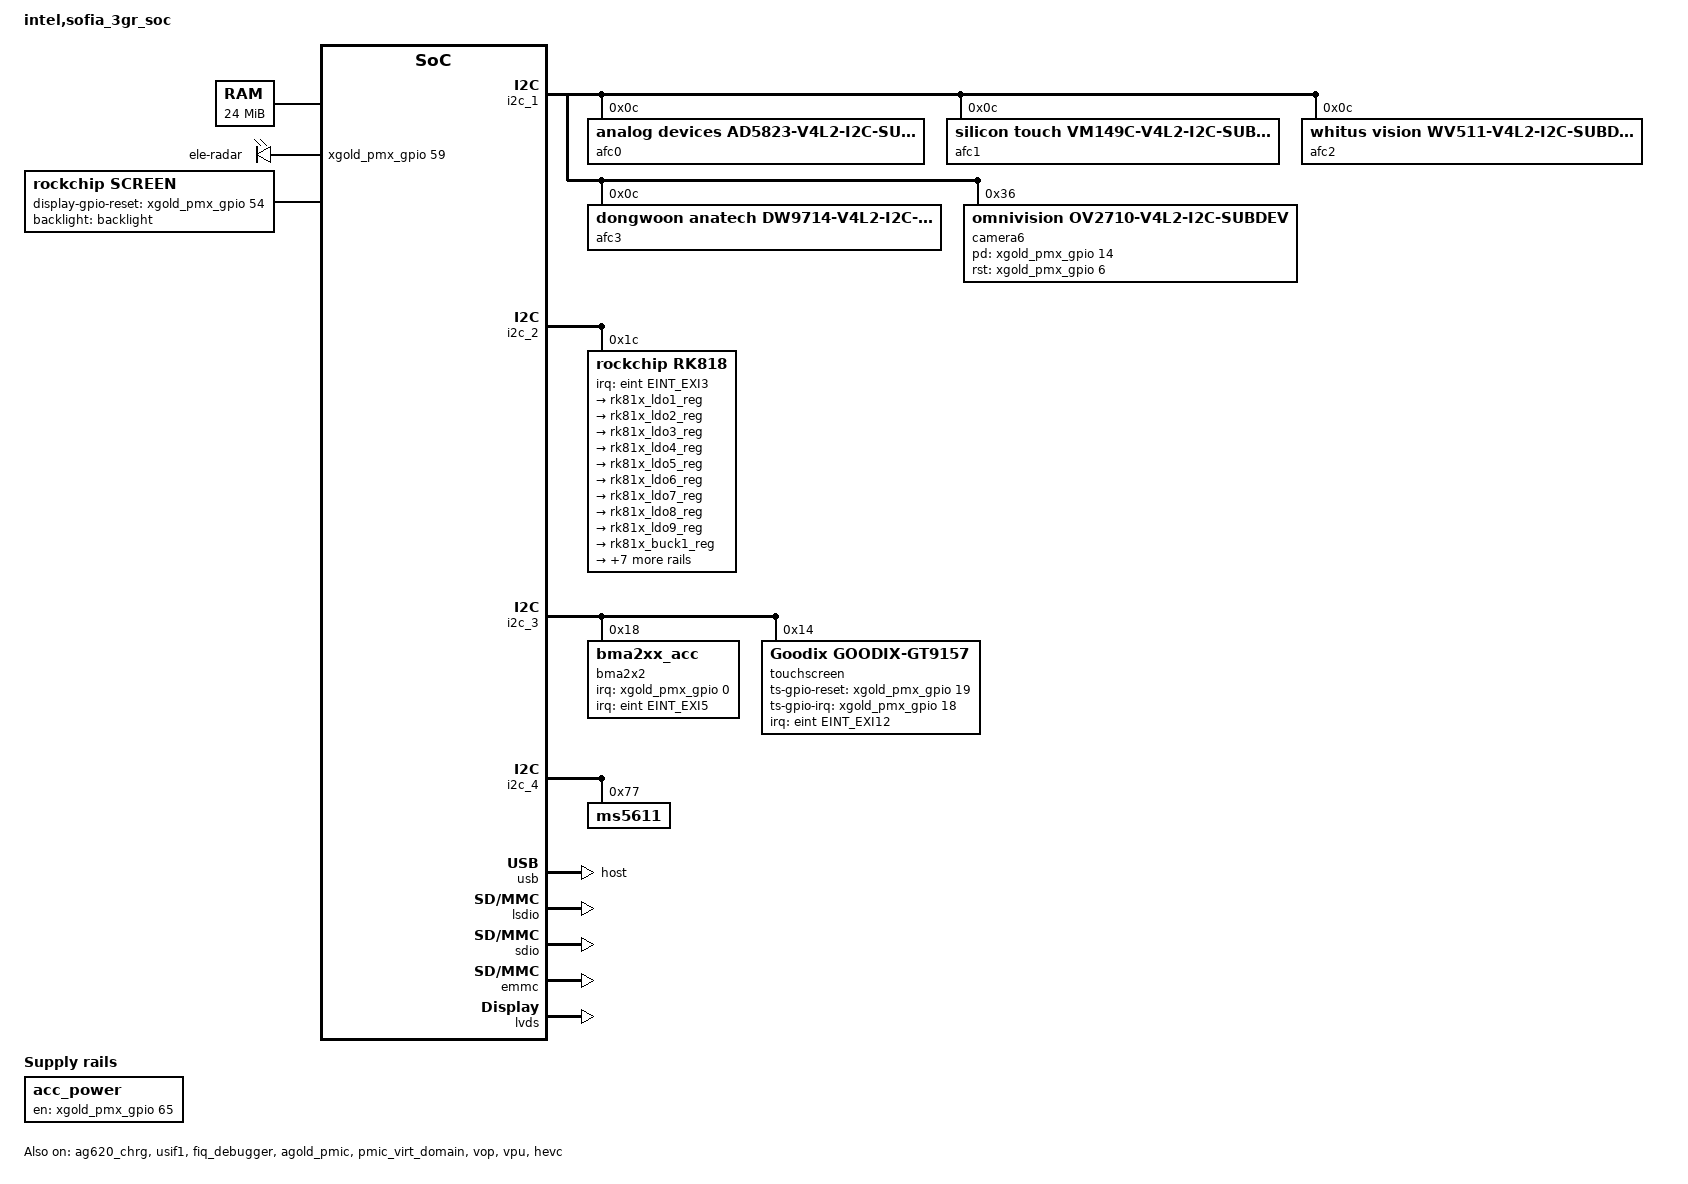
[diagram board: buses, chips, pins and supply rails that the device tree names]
/dts-v1/;

#include "xgold/sofia_3gr_soc/irq-car.h"
#include <dt-bindings/sensor-dev.h>
#include <dt-bindings/sofiafb/sofia_fb.h>
#include <dt-bindings/touchscreen_type.h>
#include <dt-bindings/gpio/gpio.h>

/ {
	#address-cells = <1>;
	#size-cells = <1>;
	model = "intel,sofia_3gr_soc";
	compatible = "intel,sofia_3gr_soc-svb", "intel,xgold";

	#include "xgold/sofia_3gr_soc/sofia_3gr_soc.dtsi"
	#include "xgold/sofia_3gr_soc/irq.dtsi"
	#include "xgold/mobilevisor/mobilevisor.dtsi"
	#include "xgold/sofia_3gr_soc/clock-es1.dtsi"
	#include "xgold/sofia_3gr_soc/regulator.dtsi"
	#include "xgold/sofia_3gr_soc/device-pm-reg.dtsi"
	#include "xgold/pmic/granite.dtsi"
	#include "xgold/sofia_3gr_soc/cpufreq.dtsi"
	#include "xgold/pmic/agold_pmic.dtsi"
	#include "xgold/pmic/pmic_virt_domain.dtsi"
	#include "xgold/pmic/pmic_prh.dtsi"
	chosen {
	};

	aliases {
	};

	memory {
		device_type = "memory";
		reg = <0x800000 0x1800000>;
	};

	reserved-memory {
		#address-cells = <1>;
		#size-cells = <1>;
		ranges;

		/* global autoconfigured region for contiguous allocations */
		cma_default_region: region@0 {
			size = <0x04800000>; /* 72 MiB */
			limit = <0x00000000>; /* 256 MiB */
			linux,cma-default;
		};
	};

	vmodem {
		compatible = "intel,vmodem";
		reg = < 0x1D000000 0x02C00000 >;
	};

	ion {
		compatible = "rockchip,ion";
		#address-cells = <1>;
		#size-cells = <0>;
		cma-heap {
			memory-region = <&cma_default_region>;
			rockchip,ion_heap = <4>;
		};
		system-heap {
			rockchip,ion_heap = <0>;
		};
	};

	backlight: agold620-backlight {
		compatible = "intel,agold620-led";
		reg = <0xE6501800 0x154
				0xE6401134 0x4>;
		reg-names = "pmu-bl", "cgu-bl";
		intel,flags-use-safe-ctrl;
		pm,class-name = "bl_class";
		pm,user-name = "bl";
		pm,state-D0 = "enable";
		pm,state-D3 = "disable";
		/*
		 * intel,run-mode
		 * 1:free running,2:analog feedback
		 * 3,digital control
		 */
		intel,run-mode = <1>;
		intel,led-polarity = <0>; //(free running need)
		intel,led-max-brightness = <160>; //(free running need)
		intel,led-min-brightness = <1>; //(free running need)
		intel,default-brightness-level = <60>;
		/*
		 * intel,ref-voltage
		 * 0:100mv, 1:150mv
		 * 2:200mv (analog feedback need)
		 */
		intel,ref-voltage = <2>;
		intel,cabc = <0>; //for all mode
		intel,bl-gpio-enable = <&abb_pmx_gpio 32 0>;
		//pinctrl-names = "default", "sleep", "inactive";
		//pinctrl-0 = <&led_agold_default_pins>;
		//pinctrl-1 = <&led_agold_sleep_pins>;
		//pinctrl-2 = <&led_agold_inactive_pins>;
	};

	hallsensor {
		compatible = "hall_och165t";
		interrupt-parent = <&eint>;
		interrupts = <EINT_EXI11 XGOLD_IRQ_TYPE_EDGE_FALLING>;
		pinctrl-names = "default", "sleep", "inactive";
		pinctrl-0 = <&hall_default_pins>;
		pinctrl-1 = <&hall_sleep_pins>;
		pinctrl-2 = <&hall_inactive_pins>;
		irq-gpio = <&xgold_pmx_gpio 32 IRQ_TYPE_LEVEL_LOW>;
		hall-active = <1>;
		status = "disabled";
	};

	key {
		compatible = "rockchip,key";
		power-key {
			interrupt-parent = <&eint>;
			interrupts = <EINT_EXI2 XGOLD_IRQ_TYPE_EDGE_FALLING>;
			gpios = <&xgold_pmx_gpio 1 IRQ_TYPE_LEVEL_LOW>;
			linux,code = <116>;
			label = "power";
			gpio-key,wakeup;
		};
	};

	fb {
		compatible = "rockchip,fb";
		rockchip,disp-mode = <NO_DUAL>;
#ifdef PTEST_KERNEL
		rockchip,loader-logo-on = <0>;
#else
		rockchip,loader-logo-on = <0>;
#endif
		rockchip,ion-drv = "rockchip";
	};

	acc_power: acc_power {
		compatible = "regulator-fixed";
		enable-active-high;
		gpio = <&xgold_pmx_gpio 65 GPIO_ACTIVE_HIGH>;
		regulator-name = "acc_power";
		regulator-always-on;
		regulator-boot-on;
	};

	gpio-det {
		compatible = "gpio-detection";
		status = "okay";
		pinctrl-0 = <&gpio_det_default_pins
			     &gpio_fire_default_pins>;
		pinctrl-names = "default";
		car-reverse {
			interrupt-parent = <&eint>;
			interrupts = < EINT_EXI4 XGOLD_IRQ_TYPE_EDGE_BOTH>;
			gpios = <&xgold_pmx_gpio 2 GPIO_ACTIVE_LOW>;
			label = "car-reverse";
			gpio,wakeup;

			4tech,support_uvc_reverse = <1>;
			4tech,uvc_reverse_gpio_reg = <0x1005>;
			4tech,uvc_chip_id = <0x70>;
			4tech,uvc_chip_id_reg = <0x101f>;
			4tech,uvc_reverse_status_reg = <0x09a2>;
			4tech,uvc_reverse_status = <0>;
			4tech,uvc_poll_ms = <300>;
		};

		car-acc {
			interrupt-parent = <&eint>;
			interrupts = <EINT_EXI7 XGOLD_IRQ_TYPE_EDGE_BOTH>;
			gpios = <&xgold_pmx_gpio 5 GPIO_ACTIVE_LOW>;
			label = "car-acc";
			gpio,wakeup;
		};
	};

	leds {
		compatible = "gpio-leds";
		//status = "disabled";
                ele-radar {
                        label = "ele-radar";
                        gpios = <&xgold_pmx_gpio 59 0>;
                        linux,default-trigger = "ele-radar-trigger";
                        default-state = "keep";
                        retain-state-suspended = <1>;
                };
	};

	loader-charge {
		compatible = "rockchip,loader-charge";
		rockchip,loader-charge-on = <0>;
		rockchip,loader-weak-volt = <3600>;
		rockchip,loader-weak-volt-dcp = <3800>;
		rockchip,loader-weak-volt-sdp = <3650>;
		rockchip,android-charge-on = <0>;
	};

	screen {
		compatible = "rockchip,screen","intel,screen";
		pm,class-name = "generic_class";
		pm,user-name = "lcd";
		pm,state-D0 = "enable";
		pm,state-D3 = "disable";
		backlight = <&backlight>;

		intel,display-gpio-reset = <&xgold_pmx_gpio 54 0>;
		#include "xgold/display/lcd-lvds_hx8249.dtsi"
		// #include "xgold/display/lcd-mipi_ili9806e-3.dtsi"
	};

#ifndef RECOVERY_KERNEL
	sound {
		compatible = "intel,xgold-snd-asoc";
		intel,audio-codec = < &afe >;
		intel,pcm-audio = <&pcm_music>;
		intel,pcm-voice = <&pcm_voice>;
		intel,speech = <&speech_probe>;
		/* intel,jack = <&headset>; */
	};
#endif

};

&cpufreq {
	intel,cpufreq-table-v1 = <416000 600000 728000 900000 1040000>;
	intel,voltage-table-v1 = <1000000 1100000 1150000 1200000 1250000>;
	intel,cpufreq-table-v2 = <416000 600000 728000 900000 1160000>;
	intel,voltage-table-v2 = <900000 1075000 1125000 1150000 1275000>;
};

&C6_MC4 {
	target-residency = <100000>; /* 15+20 (entry+exit+broadcast overhead) */
};

&idi_per {
	#include "xgold/agold620/agold620.dtsi"
};

&ag620_chrg {
	status = "okay";
};

&spcu_thermal2 {
	intel,over-heat-temp = <125000>;
};

&vibrator {
	loader_vibrator_time = <90>;
	loader_vibrator_intensity = <100>;
	linux_vibrator_time_adjust = <10>;
	linux_vibrator_intensity = <100>;
};

&abb_pmx_gpio {
	intel,gpiochip-base = <107>;
};

&usif1 {
	pinctrl-names = "default", "sleep", "inactive";
	pinctrl-0 = <&usif1_function_C_active_pins>;
	pinctrl-1 = <&usif1_function_C_sleep_pins>;
	pinctrl-2 = <&usif1_function_C_inactive_pins>;
	pm,state-D0 = "enable_96M_hperf";
	status = "okay";
};

&usif2 {
	pinctrl-names = "default", "sleep", "inactive";
	pinctrl-0 = <&usif2_default_pins>;
	pinctrl-1 = <&usif2_sleep_pins>;
	pinctrl-2 = <&usif2_inactive_pins>;
	// pm,state-D0 = "enable_96M_hperf";
	status = "disabled";
};

&fiq_debugger {
	status = "okay";
};

&pwm0 {
	pinctrl-names = "default", "sleep", "inactive";
	pinctrl-0 = <&pwm0_default_pins>;
	pinctrl-1 = <&pwm0_sleep_pins>;
	pinctrl-2 = <&pwm0_inactive_pins>;
	status = "disabled";
};

&i2c_1 {
	status = "okay";
	pinctrl-names = "default", "sleep", "inactive";
	pinctrl-0 = <&i2c1_default_pins>;
	pinctrl-1 = <&i2c1_sleep_pins>;
	pinctrl-2 = <&i2c1_inactive_pins>;

#ifndef RECOVERY_KERNEL
	afc0: af-controller@0 {
		//status = "disabled";
		compatible = "analog devices,ad5823-v4l2-i2c-subdev";
		reg = < 0x0C >;
	};

	afc1: af-controller@1 {
		//status = "disabled";
		compatible = "silicon touch,vm149C-v4l2-i2c-subdev";
		reg = < 0x0c >;
	};

	afc2: af-controller@2 {
		//status = "disabled";
		compatible = "whitus vision,wv511-v4l2-i2c-subdev";
		reg = < 0x0c >;
	};

	afc3: af-controller@3 {
		compatible = "dongwoon anatech,dw9714-v4l2-i2c-subdev";
		reg = < 0x0C >;
	};
#endif

#ifndef RECOVERY_KERNEL
	camera0: camera-module@0 {
		status = "disabled";
		compatible = "omnivision,ov13850-v4l2-i2c-subdev";
		reg = < 0x10 >;/*addr is 0x6C when SID set 0,else is 0x20*/
		device_type = "v4l2-i2c-subdev";

		pinctrl-names = "default", "sleep", "inactive";
		pinctrl-0 = <&cam1_default_pins>;
		pinctrl-1 = <&cam1_sleep_pins>;
		pinctrl-2 = <&cam1_inactive_pins>;

		intel,pd-gpio = <&xgold_pmx_gpio 14 0>;
		intel,pd-gpio-is_active_high;
		intel,rst-gpio = <&xgold_pmx_gpio 55 0>;
		intel,rst-gpio-is_active_high;
		//intel,pd-gpio_1v2 = <&xgold_pmx_gpio 68 0>;
		intel,flash-gpio = <&xgold_pmx_gpio 97 0>;
		intel,torch-gpio = <&xgold_pmx_gpio 96 0>;

		pm,class-name = "generic_class";
		pm,user-name = "primcam";
		pm,state-D0 = "enable";
		pm,state-D3 = "disable";

		intel,camera-module-facing = "back";
		intel,camera-module-mounting = "landscape";
		intel,camera-module-flash-support = <1>;
		intel,camera-module-flash-exp-time = <5000>;

		//intel,af-ctrl = <&afc0>;
		intel,camera-module-csi-config-0 {
			intel,csi-pixels-per-second = <0>;
			intel,csi-vc = <0>;
			intel,csi-lanes = <2>;
			intel,csi-dphy1 = <0x2014203>;
			intel,csi-dphy2 = <0x00>;
			intel,csi-ana-bandgap-bias = <3>;
			intel,csi-used = <0>;
		};
		intel,camera-module-csi-config-1 {
			intel,csi-pixels-per-second = <100000000>;
			intel,csi-vc = <0>;
			intel,csi-lanes = <4>;
			intel,csi-dphy1 = <0x600e241>;
			intel,csi-dphy2 = <0x00>;
			intel,csi-ana-bandgap-bias = <3>;
			intel,csi-used = <0>;
		};
	};
#endif

#ifndef RECOVERY_KERNEL
	camera1: camera-module@1 {
		status = "disabled";
		compatible = "omnivision,OV8858-v4l2-i2c-subdev";
		reg = < 0x10 >;/*addr is 0x6C when SID set 0,else is 0x20*/
		device_type = "v4l2-i2c-subdev";

		pinctrl-names = "default", "sleep", "inactive";
		pinctrl-0 = <&cam1_default_pins>;
		pinctrl-1 = <&cam1_sleep_pins>;
		pinctrl-2 = <&cam1_inactive_pins>;

		intel,pd-gpio = <&xgold_pmx_gpio 14 0>;
		intel,pd-gpio-is_active_high;
		intel,rst-gpio = <&xgold_pmx_gpio 55 0>;
		intel,rst-gpio-is_active_high;
		//intel,pd-gpio_1v2 = <&xgold_pmx_gpio 68 0>;
		//intel,flash-gpio = <&xgold_pmx_gpio 97 0>;
		//intel,torch-gpio = <&xgold_pmx_gpio 96 0>;

		pm,class-name = "generic_class";
		pm,user-name = "primcam";
		pm,state-D0 = "enable";
		pm,state-D3 = "disable";

		intel,camera-module-facing = "back";
		intel,camera-module-mounting = "landscape";
		intel,camera-module-flash-support = <1>;
		intel,camera-module-flash-exp-time = <5000>;
		rockchip,camera-module-name = "cmk-cb0695-fv1";
		rockchip,camera-module-len-name = "lg9569a2";
		rockchip,camera-module-fov-h = "66.0";
		rockchip,camera-module-fov-v = "50.1";
		rockchip,camera-module-orientation = <0>;
		rockchip,camera-module-iq-flip = <0>;
		rockchip,camera-module-iq-mirror = <0>;

		intel,af-ctrl = <&afc1>;
		intel,camera-module-csi-config-0 {
			intel,csi-pixels-per-second = <0>;
			intel,csi-vc = <0>;
			intel,csi-lanes = <4>;
			intel,csi-dphy1 = <0x610a203>;
			intel,csi-dphy2 = <0x00>;
			intel,csi-ana-bandgap-bias = <3>;
			intel,csi-used = <0>;
		};
	};
#endif

#ifndef RECOVERY_KERNEL
	camera2: camera-module@2 {
		status = "disabled";
		compatible = "omnivision,OV5648-v4l2-i2c-subdev";
		reg = < 0x36 >;/*addr is 0x6C when SID set 0,else is 0x20*/
		device_type = "v4l2-i2c-subdev";

		pinctrl-names = "default", "sleep", "inactive";
		pinctrl-0 = <&cam1_default_pins>;
		pinctrl-1 = <&cam1_sleep_pins>;
		pinctrl-2 = <&cam1_inactive_pins>;

		intel,pd-gpio = <&xgold_pmx_gpio 14 0>;
		intel,pd-gpio-is_active_high;
		intel,rst-gpio = <&xgold_pmx_gpio 55 0>;
		intel,rst-gpio-is_active_high;
		//intel,pd-gpio_1v2 = <&xgold_pmx_gpio 68 0>;
		//intel,flash-gpio = <&xgold_pmx_gpio 97 0>;
		//intel,torch-gpio = <&xgold_pmx_gpio 96 0>;

		pm,class-name = "generic_class";
		pm,user-name = "primcam";
		pm,state-D0 = "enable";
		pm,state-D3 = "disable";

		intel,camera-module-facing = "back";
		intel,camera-module-mounting = "landscape";
		intel,camera-module-flash-support = <1>;
		intel,camera-module-flash-exp-time = <5000>;
		rockchip,camera-module-name = "cmk-cw2392-fv1";
		rockchip,camera-module-len-name = "m5101";

		intel,af-ctrl = <&afc2>;
		intel,camera-module-csi-config-0 {
			intel,csi-pixels-per-second = <0>;
			intel,csi-vc = <0>;
			intel,csi-lanes = <2>;
			intel,csi-dphy1 = <0x6208203>;
			intel,csi-dphy2 = <0x00>;
			intel,csi-ana-bandgap-bias = <3>;
			intel,csi-used = <0>;
		};
	};
#endif

#ifndef RECOVERY_KERNEL
	camera3: camera-module@3 {
		status = "disabled";
		compatible = "superpix,sp5409-v4l2-i2c-subdev";
		reg = < 0x3c >;
		device_type = "v4l2-i2c-subdev";

		pinctrl-names = "default", "sleep", "inactive";
		pinctrl-0 = <&cam1_default_pins>;
		pinctrl-1 = <&cam1_sleep_pins>;
		pinctrl-2 = <&cam1_inactive_pins>;

		intel,pd-gpio = <&xgold_pmx_gpio 14 0>;
		//intel,pd-gpio_1v2 = <&xgold_pmx_gpio 68 0>;
		intel,pd-gpio-is_active_low;
		intel,rst-gpio = <&xgold_pmx_gpio 55 0>;
		intel,rst-gpio-is_active_low;
		intel,flash-gpio = <&xgold_pmx_gpio 37 0>;
		intel,torch-gpio = <&xgold_pmx_gpio 38 0>;
		intel.flash-driver = "FP6773C";

		pm,class-name = "generic_class";
		pm,user-name = "primcam";
		pm,state-D0 = "enable";
		pm,state-D3 = "disable";

		/* ["front","back"] */
		intel,camera-module-facing = "back";
		/* ["landscape","landscape-flipped","portrait",
			"portrait-flipped"] */
		intel,camera-module-mounting = "landscape";
		intel,camera-module-flash-support = <1>;
		intel,camera-module-flash-exp-time = <5000>;
		rockchip,camera-module-name = "std-hcd1018b5248-v0";
		rockchip,camera-module-len-name = "m0501a-100";

		intel,af-ctrl = <&afc3>;

		intel,camera-module-csi-config-0 {
			intel,csi-pixels-per-second = <0>;
			intel,csi-vc = <0>;
			intel,csi-lanes = <2>;
			intel,csi-dphy1 = <0x608a1c1>;
			intel,csi-dphy2 = <0x00>;
			intel,csi-ana-bandgap-bias = <3>;
			intel,csi-used = <0>;
		};
	};
#endif

#ifndef RECOVERY_KERNEL
	camera4: camera-module@4 {
		status = "disabled";
		compatible = "galaxycore,gc2155-v4l2-i2c-subdev";
		reg = < 0x3C >;/*addr is 0x6C when SID set 0,else is 0x20*/
		device_type = "v4l2-i2c-subdev";
		pinctrl-names = "default", "sleep", "inactive";
		pinctrl-0 = <&cam1_default_pins>;
		pinctrl-1 = <&cam1_sleep_pins>;
		pinctrl-2 = <&cam1_inactive_pins>;

		intel,pd-gpio = <&xgold_pmx_gpio 14 0>;
		intel,pd-gpio-is_active_low;
		intel,rst-gpio = <&xgold_pmx_gpio 55 0>;
		intel,rst-gpio-is_active_high;
		//intel,pd-gpio_1v2 = <&xgold_pmx_gpio 68>;
		intel,flash-gpio = <&xgold_pmx_gpio 37 0>;
		intel,torch-gpio = <&xgold_pmx_gpio 38 0>;

		pm,class-name = "generic_class";
		pm,user-name = "primcam";
		pm,state-D0 = "enable";
		pm,state-D3 = "disable";

		/* ["front","back"] */
		intel,camera-module-facing = "back";
		/* ["landscape","landscape-flipped","portrait",
			"portrait-flipped"] */
		intel,camera-module-mounting = "landscape";
		intel,camera-module-flash-support = <1>;
		intel,camera-module-flash-exp-time = <5000>;

		intel,camera-module-csi-config-0 {
			intel,csi-pixels-per-second = <0>;
			intel,csi-vc = <0>;
			intel,csi-lanes = <2>;
			intel,csi-dphy1 = <0x2014203>;
			intel,csi-dphy2 = <0x00>;
			intel,csi-ana-bandgap-bias = <3>;
			intel,csi-used = <0>;
		};
		intel,camera-module-csi-config-1 {
			intel,csi-pixels-per-second = <100000000>;
			intel,csi-vc = <0>;
			intel,csi-lanes = <4>;
			intel,csi-dphy1 = <0x600e241>;
			intel,csi-dphy2 = <0x00>;
			intel,csi-ana-bandgap-bias = <3>;
			intel,csi-used = <0>;
		};
	};
#endif

#ifndef RECOVERY_KERNEL
	camera5: camera-module@5 {
		status = "disabled";
		compatible = "superpix,sp2508-v4l2-i2c-subdev";
		reg = < 0x3c >;
		device_type = "v4l2-i2c-subdev";

		pinctrl-names = "default", "sleep", "inactive";
		pinctrl-0 = <&cam1_default_pins>;
		pinctrl-1 = <&cam1_sleep_pins>;
		pinctrl-2 = <&cam1_inactive_pins>;

		intel,pd-gpio = <&xgold_pmx_gpio 14 0>;
		intel,pd-gpio_1v2 = <&xgold_pmx_gpio 68 0>;
		intel,pd-gpio-is_active_low;
		intel,rst-gpio = <&xgold_pmx_gpio 55 0>;
		intel,rst-gpio-is_active_low;
		intel,flash-gpio = <&xgold_pmx_gpio 37 0>;
		intel,torch-gpio = <&xgold_pmx_gpio 38 0>;
		intel.flash-driver = "FP6773C";

		pm,class-name = "generic_class";
		pm,user-name = "primcam";
		pm,state-D0 = "enable";
		pm,state-D3 = "disable";

		/* ["front","back"] */
		intel,camera-module-facing = "back";
		/* ["landscape","landscape-flipped","portrait",
			"portrait-flipped"] */
		intel,camera-module-mounting = "landscape";
		intel,camera-module-flash-support = <1>;
		intel,camera-module-flash-exp-time = <5000>;

		intel,camera-module-csi-config-0 {
			intel,csi-pixels-per-second = <0>;
			intel,csi-vc = <0>;
			intel,csi-lanes = <1>;
			intel,csi-dphy1 = <0x608a241>;
			intel,csi-dphy2 = <0x00>;
			intel,csi-ana-bandgap-bias = <3>;
			intel,csi-used = <0>;
		};
	};
#endif

#ifndef RECOVERY_KERNEL
	camera6: camera-module@6 {
		  status = "okay";
		  compatible = "omnivision,ov2710-v4l2-i2c-subdev";
		  reg = < 0x36 >;
		  device_type = "v4l2-i2c-subdev";

		  pinctrl-names = "default", "sleep", "inactive";
		  pinctrl-0 = <&cam1_default_pins>;
		  pinctrl-1 = <&cam1_sleep_pins>;
		  pinctrl-2 = <&cam1_inactive_pins>;

		  intel,pd-gpio = <&xgold_pmx_gpio 14 0>;
		  intel,pd-gpio-is_active_low;
		  intel,rst-gpio = <&xgold_pmx_gpio 6 0>;
		  intel,rst-gpio-is_active_high;

		  pm,class-name = "generic_class";
		  pm,user-name = "seccam";
		  pm,state-D0 = "enable";
		  pm,state-D3 = "disable";

		  intel,camera-module-facing = "back";
		  intel,camera-module-mounting = "landscape";
		  intel,camera-module-flash-support = <0>;
		  intel,camera-module-flash-exp-time = <5000>;
		  rockchip,camera-module-name = "VH8-MIPI2710";
		  rockchip,camera-module-len-name = "cht835b";
		  rockchip,camera-module-fov-h = "75.0";
		  rockchip,camera-module-fov-v = "60.0";
		  rockchip,camera-module-orientation = <0>;
		  rockchip,camera-module-iq-flip = <1>;
		  rockchip,camera-module-iq-mirror = <1>;
		  rockchip,camera-module-flip = <1>;
		  rockchip,camera-module-mirror = <1>;

		  intel,camera-module-csi-config-0 {
			  intel,csi-pixels-per-second = <0>;
			  intel,csi-vc = <0>;
			  intel,csi-lanes = <1>;
			  intel,csi-dphy1 = <0x0608a183>;
			  intel,csi-dphy2 = <0x00>;
			  intel,csi-ana-bandgap-bias = <3>;
			  intel,csi-used = <0>;
		  };

	};
#endif

#ifndef RECOVERY_KERNEL
	camera7: camera-module@7 {
		  status = "disabled";
		  compatible = "omnivision,ov2718-v4l2-i2c-subdev";
		  reg = < 0x36 >;
		  device_type = "v4l2-i2c-subdev";

		  pinctrl-names = "default", "sleep", "inactive";
		  pinctrl-0 = <&cam1_default_pins>;
		  pinctrl-1 = <&cam1_sleep_pins>;
		  pinctrl-2 = <&cam1_inactive_pins>;

		  intel,pd-gpio = <&xgold_pmx_gpio 14 0>;
		  intel,pd-gpio-is_active_high;
		  intel,rst-gpio = <&xgold_pmx_gpio 6 0>;
		  intel,rst-gpio-is_active_high;

		  pm,class-name = "generic_class";
		  pm,user-name = "seccam";
		  pm,state-D0 = "enable";

		  intel,camera-module-facing = "back";
		  intel,camera-module-mounting = "landscape";
		  intel,camera-module-flash-support = <0>;
		  intel,camera-module-flash-exp-time = <5000>;
		  intel,camera-module-i2c-slow-down = <0>;
		  rockchip,camera-module-name = "N2-A33-MIPI2718";
		  rockchip,camera-module-len-name = "cht835b";
		  rockchip,camera-module-fov-h = "75.0";
		  rockchip,camera-module-fov-v = "60.0";
		  rockchip,camera-module-orientation = <0>;
		  rockchip,camera-module-iq-flip = <0>;
		  rockchip,camera-module-iq-mirror = <0>;
		  rockchip,camera-module-flip = <0>;
		  rockchip,camera-module-mirror = <0>;

		  intel,camera-module-csi-config-0 {
			  intel,csi-pixels-per-second = <0>;
			  intel,csi-vc = <0>;
			  intel,csi-lanes = <2>;
			  intel,csi-dphy1 = <0x06008183>;
			  intel,csi-dphy2 = <0x00>;
			  intel,csi-ana-bandgap-bias = <3>;
			  intel,csi-used = <0>;
		  };
	};
#endif

#ifndef RECOVERY_KERNEL
	camera8: camera-module@8 {
		status = "disabled";
		compatible = "galaxycore,xc6130-v4l2-i2c-subdev";
		reg = < 0x1B >;/*addr is 0x6C when SID set 0,else is 0x20*/
		device_type = "v4l2-i2c-subdev";
		pinctrl-names = "default", "sleep", "inactive";
		pinctrl-0 = <&cam1_default_pins>;
		pinctrl-1 = <&cam1_sleep_pins>;
		pinctrl-2 = <&cam1_inactive_pins>;

		intel,pd-gpio = <&xgold_pmx_gpio 14 0>;
		intel,pd-gpio-is_active_low;
		intel,rst-gpio = <&xgold_pmx_gpio 6 0>;
		intel,rst-gpio-is_active_low;
		//intel,pd-gpio_1v2 = <&xgold_pmx_gpio 68>;
		intel,flash-gpio = <&xgold_pmx_gpio 37 0>;
		intel,torch-gpio = <&xgold_pmx_gpio 38 0>;

		pm,class-name = "generic_class";
		pm,user-name = "primcam";
		pm,state-D0 = "enable";
		pm,state-D3 = "disable";

		/* ["front","back"] */
		intel,camera-module-facing = "back";
		/* ["landscape","landscape-flipped","portrait",
		"portrait-flipped"] */
		intel,camera-module-mounting = "landscape";
		intel,camera-module-flash-support = <1>;
		intel,camera-module-flash-exp-time = <5000>;

		intel,camera-module-csi-config-0 {
			intel,csi-pixels-per-second = <0>;
			intel,csi-vc = <0>;
			intel,csi-lanes = <2>;
			intel,csi-dphy1 = <0x6210183>;
			intel,csi-dphy2 = <0x00>;
			intel,csi-ana-bandgap-bias = <3>;
			intel,csi-used = <0>;
		};
	};
#endif

#ifndef RECOVERY_KERNEL
	camera9: camera-module@9 {
		status = "disabled";
		compatible = "omnivision,ov9732-v4l2-i2c-subdev";
		reg = < 0x36 >;
		device_type = "v4l2-i2c-subdev";

		pinctrl-names = "default", "sleep", "inactive";
		pinctrl-0 = <&cam1_default_pins>;
		pinctrl-1 = <&cam1_sleep_pins>;
		pinctrl-2 = <&cam1_inactive_pins>;

		intel,pd-gpio = <&xgold_pmx_gpio 14 0>;
		intel,pd-gpio-is_active_high;
		intel,rst-gpio = <&xgold_pmx_gpio 6 0>;
		intel,rst-gpio-is_active_high;

		pm,class-name = "generic_class";
		pm,user-name = "seccam";
		pm,state-D0 = "enable";
		pm,state-D3 = "disable";

		intel,camera-module-facing = "back";
		intel,camera-module-mounting = "landscape";
		intel,camera-module-flash-support = <1>;
		intel,camera-module-flash-exp-time = <5000>;
		rockchip,camera-module-name = "V900-OV09732-V02";
		rockchip,camera-module-len-name = "28188-17.4";
		rockchip,camera-module-fov-h = "75.0";
		rockchip,camera-module-fov-v = "60.0";
		rockchip,camera-module-orientation = <0>;
		rockchip,camera-module-iq-flip = <0>;
		rockchip,camera-module-iq-mirror = <0>;

		intel,camera-module-csi-config-0 {
			intel,csi-pixels-per-second = <0>;
			intel,csi-vc = <0>;
			intel,csi-lanes = <1>;
			intel,csi-dphy1 = <0x0608a183>;
			intel,csi-dphy2 = <0x00>;
			intel,csi-ana-bandgap-bias = <3>;
			intel,csi-used = <0>;
		};
	};
#endif

#ifndef RECOVERY_KERNEL
	camera10: camera-module@10 {
		status = "disabled";
		compatible = "SiliconOptronics,JX-H42-v4l2-i2c-subdev";
		reg = < 0x30 >;
		device_type = "v4l2-i2c-subdev";

		pinctrl-names = "default", "sleep", "inactive";
		pinctrl-0 = <&cam1_default_pins>;
		pinctrl-1 = <&cam1_sleep_pins>;
		pinctrl-2 = <&cam1_inactive_pins>;

		intel,pd-gpio = <&xgold_pmx_gpio 14 0>;
		intel,pd-gpio-is_active_low;
		intel,rst-gpio = <&xgold_pmx_gpio 6 0>;
		intel,rst-gpio-is_active_high;

		pm,class-name = "generic_class";
		pm,user-name = "seccam";
		pm,state-D0 = "enable";
		pm,state-D3 = "disable";

		intel,camera-module-facing = "back";
		intel,camera-module-mounting = "landscape";
		intel,camera-module-flash-support = <1>;
		intel,camera-module-flash-exp-time = <5000>;
		rockchip,camera-module-name = "ZHH42-S86-001";
		rockchip,camera-module-len-name = "zhh42";
		rockchip,camera-module-fov-h = "75.0";
		rockchip,camera-module-fov-v = "60.0";
		rockchip,camera-module-orientation = <0>;
		rockchip,camera-module-iq-flip = <0>;
		rockchip,camera-module-iq-mirror = <0>;

		intel,camera-module-csi-config-0 {
			intel,csi-pixels-per-second = <0>;
			intel,csi-vc = <0>;
			intel,csi-lanes = <1>;
			intel,csi-dphy1 = <0x0608a183>;
			intel,csi-dphy2 = <0x00>;
			intel,csi-ana-bandgap-bias = <3>;
			intel,csi-used = <0>;
		};

	};
#endif

#ifndef RECOVERY_KERNEL
	camera11: camera-module@11 {
		status = "disabled";
		compatible = "omnivision,ov2680-v4l2-i2c-subdev";
		reg = < 0x36 >;/*addr is 0x6C when SID set 0,else is 0x20*/
		device_type = "v4l2-i2c-subdev";

		pinctrl-names = "default", "sleep", "inactive";
		pinctrl-0 = <&cam2_default_pins>;
		pinctrl-1 = <&cam2_sleep_pins>;
		pinctrl-2 = <&cam2_inactive_pins>;

		intel,pd-gpio = <&xgold_pmx_gpio 15 0>;
		intel,pd-gpio-is_active_high;
		intel,rst-gpio = <&xgold_pmx_gpio 55 0>;
		intel,rst-gpio-is_active_high;
		//intel,pd-gpio_1v2 = <&xgold_pmx_gpio 68 0>;

		pm,class-name = "generic_class";
		pm,user-name = "seccam";
		pm,state-D0 = "enable";
		pm,state-D3 = "disable";

		intel,camera-module-facing = "front";
		intel,camera-module-mounting = "landscape";
		intel,camera-module-flash-support = <1>;
		intel,camera-module-flash-exp-time = <5000>;
		rockchip,camera-module-name = "cmk-cb0695-fv1";
		rockchip,camera-module-len-name = "cht835b";
		rockchip,camera-module-fov-h = "75.0";
		rockchip,camera-module-fov-v = "60.0";
		rockchip,camera-module-orientation = <0>;
		rockchip,camera-module-iq-flip = <0>;
		rockchip,camera-module-iq-mirror = <0>;

		intel,camera-module-csi-config-0 {
			intel,csi-pixels-per-second = <0>;
			intel,csi-vc = <0>;
			intel,csi-lanes = <1>;
			intel,csi-dphy1 = <0x6284203>;
			intel,csi-dphy2 = <0x00>;
			intel,csi-ana-bandgap-bias = <3>;
			intel,csi-used = <1>;
		};
	};
#endif

#ifndef RECOVERY_KERNEL
	camera12: camera-module@12 {
		status = "disabled";
		compatible = "galaxycore,gc2355-v4l2-i2c-subdev";
		reg = < 0x3C >;/*addr is 0x6C when SID set 0,else is 0x20*/
		device_type = "v4l2-i2c-subdev";
		pinctrl-names = "default", "sleep", "inactive";
		pinctrl-0 = <&cam2_default_pins>;
		pinctrl-1 = <&cam2_sleep_pins>;
		pinctrl-2 = <&cam2_inactive_pins>;

		intel,pd-gpio = <&xgold_pmx_gpio 15 0>;
		intel,pd-gpio-is_active_low;
		intel,rst-gpio = <&xgold_pmx_gpio 55 0>;
		intel,rst-gpio-is_active_high;
		intel,pd-gpio_1v2 = <&xgold_pmx_gpio 68 0>;
		intel,flash-gpio = <&xgold_pmx_gpio 37 0>;
		intel,torch-gpio = <&xgold_pmx_gpio 38 0>;

		pm,class-name = "generic_class";
		pm,user-name = "seccam";
		pm,state-D0 = "enable";
		pm,state-D3 = "disable";

		/* ["front","back"] */
		intel,camera-module-facing = "front";
		/* ["landscape","landscape-flipped","portrait",
			"portrait-flipped"] */
		intel,camera-module-mounting = "landscape";
		intel,camera-module-flash-support = <1>;
		intel,camera-module-flash-exp-time = <5000>;
		rockchip,camera-module-name = "cmk-cw-2392-fv1";
		rockchip,camera-module-len-name = "m206a-201";

		intel,camera-module-csi-config-0 {
			intel,csi-pixels-per-second = <0>;
			intel,csi-vc = <0>;
			intel,csi-lanes = <1>;
			intel,csi-dphy1 = <0x6210203>;
			intel,csi-dphy2 = <0x00>;
			intel,csi-ana-bandgap-bias = <3>;
			intel,csi-used = <1>;
		};
	};
#endif

#ifndef RECOVERY_KERNEL
	camera13: camera-module@13 {
		status = "disabled";
		compatible = "galaxycore,gc0310-v4l2-i2c-subdev";
		reg = < 0x21 >;/* 7bit address*/
		device_type = "v4l2-i2c-subdev";

		pinctrl-names = "default", "sleep", "inactive";
		pinctrl-0 = <&cam2_default_pins>;
		pinctrl-1 = <&cam2_sleep_pins>;
		pinctrl-2 = <&cam2_inactive_pins>;

		intel,pd-gpio = <&xgold_pmx_gpio 15 0>;
		intel,pd-gpio-is_active_low;
		intel,rst-gpio = <&xgold_pmx_gpio 55 0>;
		intel,rst-gpio-is_active_high;

		pm,class-name = "generic_class";
		pm,user-name = "seccam";
		pm,state-D0 = "enable";
		pm,state-D3 = "disable";

		intel,camera-module-facing = "front";
		/* ["landscape","landscape-flipped","portrait",
			"portrait-flipped"] */
		intel,camera-module-mounting = "landscape";
		intel,camera-module-flash-support = <1>;
		intel,camera-module-flash-exp-time = <5000>;

		intel,camera-module-csi-config-0 {
			intel,csi-pixels-per-second = <0>;
			intel,csi-vc = <0>;
			intel,csi-lanes = <1>;
			intel,csi-dphy1 = <0x6012229>;
			intel,csi-dphy2 = <0x00>;
			intel,csi-ana-bandgap-bias = <3>;
			intel,csi-used = <1>;
		};
	};
#endif

#ifndef RECOVERY_KERNEL
	camera14: camera-module@14 {
		status = "disabled";
		compatible = "superpix,sp0a20-v4l2-i2c-subdev";
		reg = < 0x21 >;
		device_type = "v4l2-i2c-subdev";

		pinctrl-names = "default", "sleep", "inactive";
		pinctrl-0 = <&cam2_default_pins>;
		pinctrl-1 = <&cam2_sleep_pins>;
		pinctrl-2 = <&cam2_inactive_pins>;

		intel,rst-gpio = <&xgold_pmx_gpio 55 0>;
		intel,rst-gpio-is_active_high;
		intel,pd-gpio = <&xgold_pmx_gpio 15 0>;
		intel,pd-gpio-is_active_low;

		pm,class-name = "generic_class";
		pm,user-name = "seccam";
		pm,state-D0 = "enable";
		pm,state-D3 = "disable";

		intel,camera-module-facing = "front";
		/* ["landscape","landscape-flipped","portrait",
			"portrait-flipped"] */
		intel,camera-module-mounting = "landscape";
		intel,camera-module-flash-support = <1>;
		intel,camera-module-flash-exp-time = <5000>;

		intel,camera-module-csi-config-0 {
			intel,csi-pixels-per-second = <0>;
			intel,csi-vc = <0>;
			intel,csi-lanes = <1>;
			intel,csi-dphy1 = <0x608a241>;
			intel,csi-dphy2 = <0x00>;
			intel,csi-ana-bandgap-bias = <3>;
			intel,csi-used = <1>;
		};
	};
#endif

#ifndef RECOVERY_KERNEL
	camera15: camera-module@15 {
		status = "disabled";
		compatible = "himax,hm2051-v4l2-i2c-subdev";
		reg = < 0x24 >;
		device_type = "v4l2-i2c-subdev";

		pinctrl-names = "default", "sleep", "inactive";
		pinctrl-0 = <&cam2_default_pins>;
		pinctrl-1 = <&cam2_sleep_pins>;
		pinctrl-2 = <&cam2_inactive_pins>;

		intel,rst-gpio = <&xgold_pmx_gpio 55 0>;
		intel,rst-gpio-is_active_high;
		intel,pd-gpio = <&xgold_pmx_gpio 15 0>;

		pm,class-name = "generic_class";
		pm,user-name = "seccam";
		pm,state-D0 = "enable";
		pm,state-D3 = "disable";

		intel,camera-module-facing = "front";
		/* ["landscape","landscape-flipped","portrait",
			"portrait-flipped"] */
		intel,camera-module-mounting = "landscape";
		intel,camera-module-flash-support = <1>;
		intel,camera-module-flash-exp-time = <5000>;

		intel,camera-module-csi-config-0 {
			intel,csi-pixels-per-second = <0>;
			intel,csi-vc = <0>;
			intel,csi-lanes = <1>;
			intel,csi-dphy1 = <0x608a241>;
			intel,csi-dphy2 = <0x00>;
			intel,csi-ana-bandgap-bias = <3>;
			intel,csi-used = <1>;
		};
	};
#endif

};

&i2c_2 {
	status = "okay";

	rk818: rk818@1c {
		reg = <0x1c>;
		status = "okay";
		compatible = "rockchip,rk818";
		interrupt-parent = <&eint>;
		interrupts = < EINT_EXI3 XGOLD_IRQ_TYPE_EDGE_FALLING >;
		pinctrl-names = "default", "sleep", "inactive";
		pinctrl-0 = <&pmu_default_pins>;
		pinctrl-1 = <&pmu_sleep_pins>;
		pinctrl-2 = <&pmu_inactive_pins>;
		notify_usb_det = <0>;
		pm,class-name = "generic_class";
		pm,user-name = "rk818_otg";
		pm,state-D0 = "enable";
		pm,state-D3 = "disable";
		regulators {
			rk81x_ldo1_reg: regulator@0 {
				regulator-name = "rk_ldo1";
				regulator-domain = <PMIC_DOMAIN_PMIC_LDO1>;
				regulator-81x-init-mode = <PMIC_MODE_ON>;
				regulator-81x-init-volt = <PMIC_VOLTAGE_1V80>;
				regulator-81x-slp-mode = <PMIC_MODE_ON>;
				regulator-81x-slp-volt = <PMIC_VOLTAGE_1V80>;
			};

			rk81x_ldo2_reg: regulator@1 {
				regulator-name = "rk_ldo2";
				regulator-domain = <PMIC_DOMAIN_PMIC_LDO2>;
				regulator-81x-init-mode = <PMIC_MODE_ON>;
				regulator-81x-init-volt = <PMIC_VOLTAGE_3V30>;
				regulator-81x-slp-mode = <PMIC_MODE_OFF>;
				regulator-81x-slp-volt = <PMIC_VOLTAGE_3V30>;
			};

			rk81x_ldo3_reg: regulator@2 {
				regulator-name = "rk_ldo3";
				regulator-domain = <PMIC_DOMAIN_PMIC_LDO3>;
				regulator-81x-init-mode = <PMIC_MODE_ON>;
				regulator-81x-init-volt = <PMIC_VOLTAGE_1V80>;
				regulator-81x-slp-mode = <PMIC_MODE_OFF>;
				regulator-81x-slp-volt = <PMIC_VOLTAGE_1V80>;
			};

			rk81x_ldo4_reg: regulator@3 {
				regulator-name = "rk_ldo4";
				regulator-domain = <PMIC_DOMAIN_PMIC_LDO4>;
				regulator-81x-init-mode = <PMIC_MODE_ON>;
				regulator-81x-init-volt = <PMIC_VOLTAGE_1V80>;
				regulator-81x-slp-mode = <PMIC_MODE_ON>;
				regulator-81x-slp-volt = <PMIC_VOLTAGE_1V80>;
			};

			rk81x_ldo5_reg: regulator@4 {
				regulator-name = "rk_ldo5";
				regulator-domain = <PMIC_DOMAIN_PMIC_LDO5>;
				regulator-81x-init-mode = <PMIC_MODE_ON>;
				regulator-81x-init-volt = <PMIC_VOLTAGE_3V00>;
				regulator-81x-slp-mode = <PMIC_MODE_OFF>;
				regulator-81x-slp-volt = <PMIC_VOLTAGE_3V00>;
			};

			rk81x_ldo6_reg: regulator@5 {
				regulator-name = "rk_ldo6";
				regulator-domain = <PMIC_DOMAIN_PMIC_LDO6>;
				regulator-81x-init-mode = <PMIC_MODE_OFF>;
				regulator-81x-init-volt = <PMIC_VOLTAGE_1V20>;
				regulator-81x-slp-mode = <PMIC_MODE_OFF>;
				regulator-81x-slp-volt = <PMIC_VOLTAGE_1V20>;
			};

			rk81x_ldo7_reg: regulator@6 {
				regulator-name = "rk_ldo7";
				regulator-domain = <PMIC_DOMAIN_PMIC_LDO7>;
				regulator-81x-init-mode = <PMIC_MODE_ON>;
				regulator-81x-init-volt = <PMIC_VOLTAGE_1V20>;
				regulator-81x-slp-mode = <PMIC_MODE_OFF>;
				regulator-81x-slp-volt = <PMIC_VOLTAGE_1V10>;
			};

			rk81x_ldo8_reg: regulator@7 {
				regulator-name = "rk_ldo8";
				regulator-domain = <PMIC_DOMAIN_PMIC_LDO8>;
				regulator-81x-init-mode = <PMIC_MODE_ON>;
				regulator-81x-init-volt = <PMIC_VOLTAGE_3V00>;
				regulator-81x-slp-mode = <PMIC_MODE_OFF>;
				regulator-81x-slp-volt = <PMIC_VOLTAGE_3V00>;
			};

			rk81x_ldo9_reg: regulator@8 {
				regulator-name = "rk_ldo9";
				regulator-domain = <PMIC_DOMAIN_PMIC_LDO9>;
				regulator-81x-init-mode = <PMIC_MODE_ON>;
				regulator-81x-init-volt = <PMIC_VOLTAGE_3V20>;
				regulator-81x-slp-mode = <PMIC_MODE_OFF>;
				regulator-81x-slp-volt = <PMIC_VOLTAGE_1V80>;
			};

			rk81x_buck1_reg: regulator@9 {
				regulator-name = "rk_buck1";
				regulator-domain = <PMIC_DOMAIN_PMIC_BUCK1>;
				regulator-81x-init-mode = <PMIC_MODE_ON>;
				regulator-81x-init-volt = <PMIC_VOLTAGE_1V30>;
				regulator-81x-slp-mode = <PMIC_MODE_ON>;
				regulator-81x-slp-volt = <PMIC_VOLTAGE_0V90>;
			};

			rk81x_buck2_reg: regulator@10 {
				regulator-name = "rk_buck2";
				regulator-domain = <PMIC_DOMAIN_PMIC_BUCK2>;
				regulator-81x-init-mode = <PMIC_MODE_ON>;
				regulator-81x-init-volt = <PMIC_VOLTAGE_1V20>;
				regulator-81x-slp-mode = <PMIC_MODE_ON>;
				regulator-81x-slp-volt = <PMIC_VOLTAGE_0V90>;
			};

			rk81x_buck3_reg: regulator@11 {
				regulator-name = "rk_buck3";
				regulator-domain = <PMIC_DOMAIN_PMIC_BUCK3>;
				regulator-81x-init-mode = <PMIC_MODE_ON>;
				regulator-81x-init-volt = <PMIC_VOLTAGE_1V20>;
				regulator-81x-slp-mode = <PMIC_MODE_ON>;
				regulator-81x-slp-volt = <PMIC_VOLTAGE_0V90>;
			};

			rk81x_buck4_reg: regulator@12 {
				regulator-name = "rk_buck4";
				regulator-domain = <PMIC_DOMAIN_PMIC_BUCK4>;
				regulator-81x-init-mode = <PMIC_MODE_ON>;
				regulator-81x-init-volt = <PMIC_VOLTAGE_3V20>;
				regulator-81x-slp-mode = <PMIC_MODE_ON>;
				regulator-81x-slp-volt = <PMIC_VOLTAGE_3V00>;
			};

			rk81x_boost_reg: regulator@13 {
				regulator-name = "rk_boost";
				regulator-domain = <PMIC_DOMAIN_PMIC_BOOST>;
				regulator-81x-init-mode = <PMIC_MODE_ON>;
				regulator-81x-init-volt = <PMIC_VOLTAGE_5V00>;
				regulator-81x-slp-mode = <PMIC_MODE_OFF>;
				regulator-81x-slp-volt = <PMIC_VOLTAGE_5V00>;
			};

			/* init voltage depends on rk81x_buck4_reg */
			rk81x_vswout_reg: regulator@14 {
				regulator-name = "rk_vswout";
				regulator-domain = <PMIC_DOMAIN_PMIC_VSWOUT>;
				regulator-81x-init-mode = <PMIC_MODE_ON>;
				regulator-81x-slp-mode = <PMIC_MODE_OFF>;
				regulator-slb-dis-on;
			};

			rk81x_h_5v_reg: regulator@15 {
				regulator-name = "rk_h_5v";
				regulator-domain = <PMIC_DOMAIN_H_5V>;
				regulator-81x-init-mode = <PMIC_MODE_OFF>;
				regulator-81x-slp-mode = <PMIC_MODE_OFF>;
			};

			rk81x_otg_reg: regulator@16 {
				regulator-name = "rk_otg";
				regulator-domain = <PMIC_DOMAIN_PMIC_OTG_5V>;
				regulator-81x-init-mode = <PMIC_MODE_OFF>;
				regulator-81x-slp-mode = <PMIC_MODE_OFF>;
			};
		};

		battery {
			ocv_table = <3300 3599 3671 3701 3728 3746 3762
				3772 3781 3792 3816 3836 3866 3910
				3942 3971 4002 4050 4088 4132 4183>;
			design_capacity = <3914>;
			design_qmax = <4000>;
			max_overcharge = <100>;
			bat_res = <135>;
			max_input_currentmA = <1750>;
			max_chrg_currentmA = <1400>;
			max_charge_voltagemV = <4260>;
			max_bat_voltagemV = <4200>;
			sleep_enter_current = <150>;
			sleep_exit_current = <180>;
			power_off_thresd = <3300>;
			chrg_diff_voltagemV = <60>;
			support_usb_adp = <1>;
			virtual_power = <1>;
		};
	};
};

&i2c_3 {
	status = "okay";
	pinctrl-names = "default", "sleep", "inactive";
	pinctrl-0 = <&i2c3_default_pins>;
	pinctrl-1 = <&i2c3_sleep_pins>;
	pinctrl-2 = <&i2c3_inactive_pins>;

#ifndef PTEST_KERNEL
	bma2x2 {
		compatible = "bma2xx_acc";
		reg = <0x18>;
		type = <SENSOR_TYPE_ACCEL>;
		interrupt-parent = <&eint>;
		interrupts = < EINT_EXI5 XGOLD_IRQ_TYPE_LEVEL_LOW >;
		pinctrl-names = "default", "sleep", "inactive";
		pinctrl-0 = <&gyroscope_default_pins>;
		pinctrl-1 = <&gyroscope_sleep_pins>;
		pinctrl-2 = <&gyroscope_inactive_pins>;
		irq-gpio = <&xgold_pmx_gpio 0 IRQ_TYPE_LEVEL_LOW>;
		irq_enable = <1>;
		irq_wake_up = <1>;
		poll_delay_ms = <200>;
		layout = <6>;
		slope_mode = <1>;
		interrupt_dur = <25>;
		interrupt_threshold = <160>;
		pm,class-name = "gsensor_class";
		pm,user-name = "gyroscope";
	};
#endif

#ifndef PTEST_KERNEL
	touchscreen {
		compatible = "Goodix,Goodix-gt9157";
		reg = < 0x14 >;
		interrupt-parent = <&eint>;
		interrupts = < EINT_EXI12 XGOLD_IRQ_TYPE_EDGE_FALLING >;
		pinctrl-names = "default", "sleep", "inactive";
		pinctrl-0 = <&touch_default_pins>;
		pinctrl-1 = <&touch_sleep_pins>;
		pinctrl-2 = <&touch_inactive_pins>;
		intel,ts-gpio-reset = <&xgold_pmx_gpio 19 0>;
		intel,ts-gpio-irq   = <&xgold_pmx_gpio 18 0>;
		touchscreen-type = <TOUCHSCREEN_TYPE_CAR_V03>;
		pm,class-name = "gt9xx_class";
		pm,user-name = "tp";
		pm,state-D0 = "enable";
		pm,state-D3 = "disable";
	};
#endif
};

&i2c_4 {
	status = "okay";
	pinctrl-names = "default", "sleep", "inactive";
	pinctrl-0 = <&i2c4_default_pins>;
	pinctrl-1 = <&i2c4_sleep_pins>;
	pinctrl-2 = <&i2c4_inactive_pins>;
#ifndef RECOVERY_KERNEL
	camera16: camera-module@16 {
		status = "disabled";
		compatible = "adi,adv7180-v4l2-i2c-subdev";
		reg = < 0x21 >;
		device_type = "v4l2-i2c-subdev";
		pinctrl-names = "default", "sleep", "inactive";
		pinctrl-0 = <&cif_default_pins>;
		pinctrl-1 = <&cif_sleep_pins>;
		pinctrl-2 = <&cif_inactive_pins>;
		intel,rst-gpio = <&xgold_pmx_gpio 57 0>;
		intel,rst-gpio-is_active_high;
		intel,vsync-gpio = <&xgold_pmx_gpio 55 1>;
		pm,class-name = "generic_class";
		pm,user-name = "seccam";
		pm,state-D0 = "enable";
		pm,state-D3 = "disable";

		intel,camera-module-facing = "back";
		intel,camera-module-mounting = "landscape";
		intel,camera-module-flash-support = <1>;
		intel,camera-module-flash-exp-time = <5000>;
		rockchip,camera-module-name = "adv7180";
		rockchip,camera-module-len-name = "adv7180";

		intel,camera-module-csi-config-0 {
			intel,csi-pixels-per-second = <0>;
			intel,csi-vc = <0>;
			intel,csi-lanes = <1>;
			intel,csi-dphy1 = <0x608a241>;
			intel,csi-dphy2 = <0x00>;
			intel,csi-ana-bandgap-bias = <3>;
			intel,csi-used = <0>;
		};
	};
#endif

#ifndef RECOVERY_KERNEL
	rda5820 {
		compatible = "rda5820";
		reg = <0x11>;
		status = "disabled";
	};
	kt0806 {
		compatible = "kt0806";
		reg = <0x36>;
		status = "disabled";
	};
	ms5611 {
		compatible = "ms5611";
		reg = <0x77>;
	};
#endif
};

&i2c_5 {
	pinctrl-names = "default", "sleep", "inactive";
	pinctrl-0 = <&i2c5_agold_default_pins>;
	pinctrl-1 = <&i2c5_agold_sleep_pins>;
	pinctrl-2 = <&i2c5_agold_inactive_pins>;
};

&agold_pmic {
	status = "okay";
	regulators {
		agold_laux1_reg: regulator@2 {
			regulator-name = "ag_laux1";
			regulator-domain = <PMIC_DOMAIN_LAUX1>;
			regulator-init-pulldown = <PMIC_PULLDOWN_EN>;
			regulator-init-mode = <PMIC_MODE_ON>;
			regulator-init-voltage = <PMIC_VOLTAGE_1V80>;
		};

		agold_laux2_reg: regulator@3 {
			regulator-name = "ag_laux2";
			regulator-domain = <PMIC_DOMAIN_LAUX2>;
			regulator-init-pulldown = <PMIC_PULLDOWN_EN>;
			regulator-init-mode = <PMIC_MODE_OFF_STDBY>;
			regulator-init-voltage = <PMIC_VOLTAGE_2V80>;
		};
	};
};

&pmic_virt_domain {
	status = "okay";
	virt_domain {
		vddp_mmc_reg {
			virt-domain = <PMIC_VDDP_MMC>;
			pmu-domain = <PMIC_DOMAIN_LMMC1>;
		};

		vddp_mmc_td_reg {
			virt-domain = <PMIC_VDDP_MMC_TD>;
			pmu-domain = <PMIC_DOMAIN_NOTCFG>;
		};

		/* IO power supply, don't switch off,
		 * so map to PMIC_DOMAIN_NOTCFG */
		vdd_vemmc_reg {
			virt-domain = <PMIC_VDD_VEMMC>;
			pmu-domain = <PMIC_DOMAIN_NOTCFG>;
		};

		vdd_sdio_reg {
			virt-domain = <PMIC_VDD_SDIO>;
			pmu-domain = <PMIC_DOMAIN_PMIC_LDO5>;
		};

		vdd_sd2_reg {
			virt-domain = <PMIC_VDD_SD2>;
			pmu-domain = <PMIC_DOMAIN_NOTCFG>;
		};

		vdd_mipi_csi_reg {
			virt-domain = <PMIC_VDD_MIPI_CSI>;
			pmu-domain = <PMIC_DOMAIN_NOTCFG>;
		};

		vdd_mipi_dsi_reg {
			virt-domain = <PMIC_VDD_MIPI_DSI>;
			pmu-domain = <PMIC_DOMAIN_LMIPI>;
		};

		vdd_digrf1_reg {
			virt-domain = <PMIC_VDD_DIGRF1>;
			pmu-domain = <PMIC_DOMAIN_LMIPI>;
		};

		vdd_usb_1v1_reg {
			virt-domain = <PMIC_VDD_USB_1V1>;
			pmu-domain = <PMIC_DOMAIN_LAIF>;
		};

		vdd_emic_dll_reg {
			virt-domain = <PMIC_VDD_EMIC_DLL>;
			pmu-domain = <PMIC_DOMAIN_PMIC_LDO3>;
		};

		vdd_idi_rx_reg {
			virt-domain = <PMIC_VDD_IDI_RX>;
			pmu-domain = <PMIC_DOMAIN_LAIF>;
		};

		vdd_usb_3v3_reg {
			virt-domain = <PMIC_VDD_USB_3V3>;
			pmu-domain = <PMIC_DOMAIN_LUSB>;
		};

		vddp_sim_reg {
			virt-domain = <PMIC_VDDP_SIM>;
			pmu-domain = <PMIC_DOMAIN_LSIM1>;
		};

		vddp_sim2_reg {
			virt-domain = <PMIC_VDDP_SIM2>;
			pmu-domain = <PMIC_DOMAIN_LSIM2>;
		};

		vdd_io_volt_touch_sensor_reg {
			virt-domain = <PMIC_VDD_IO_VOLT_TOUCH_SENSOR>;
			pmu-domain = <PMIC_DOMAIN_NOTCFG>;
		};

		vdd_cam_prim_analog_reg {
			virt-domain = <PMIC_VDD_CAM_PRIM_ANALOG>;
			pmu-domain = <PMIC_DOMAIN_NOTCFG>;
		};

		vdd_cam_sec_analog_reg {
			virt-domain = <PMIC_VDD_CAM_SEC_ANALOG>;
			pmu-domain = <PMIC_DOMAIN_NOTCFG>;
		};

		vdd_prim_display_reg {
			virt-domain = <PMIC_VDD_PRIM_DISPLAY>;
			pmu-domain = <PMIC_DOMAIN_PMIC_VSWOUT>;
		};

		vdd_touch_sensor_reg {
			virt-domain = <PMIC_VDD_TOUCH_SENSOR>;
			pmu-domain = <PMIC_DOMAIN_NOTCFG>;
		};

		vdd_proximity_sensor_reg {
			virt-domain = <PMIC_VDD_PROXIMITY_SENSOR>;
			pmu-domain = <PMIC_DOMAIN_NOTCFG>;
		};

		vdd_accelerometer_reg {
			virt-domain = <PMIC_VDD_ACCELEROMETER>;
			pmu-domain = <PMIC_DOMAIN_NOTCFG>;
		};

		vdd_magnetometer_reg {
			virt-domain = <PMIC_VDD_MAGNETOMETER>;
			pmu-domain = <PMIC_DOMAIN_NOTCFG>;
		};

		vdd_gyroscope_reg {
			virt-domain = <PMIC_VDD_GYROSCOPE>;
			pmu-domain = <PMIC_DOMAIN_NOTCFG>;
		};

		vdd_abb_gnss_tcxo_ldo_reg {
			virt-domain = <PMIC_VDD_ABB_GNSS_TCXO_LDO>;
			pmu-domain = <PMIC_DOMAIN_GNSS_TCXO_LDO>;
		};

		vddp_vemmc_p_reg {
			virt-domain = <PMIC_VDDP_VEMMC_P>;
			pmu-domain = <PMIC_DOMAIN_NOTCFG>;
		};

		vdd_cam_prim_digital_reg {
			virt-domain = <PMIC_VDD_CAM_PRIM_DIGITAL>;
			pmu-domain = <PMIC_DOMAIN_NOTCFG>;
		};

		vdd_cam_prim_io_reg {
			virt-domain = <PMIC_VDD_CAM_PRIM_IO>;
			pmu-domain = <PMIC_DOMAIN_PMIC_LDO9>;
		};

		vdd_cam_prim_af_reg {
			virt-domain = <PMIC_VDD_CAM_PRIM_AF>;
			pmu-domain = <PMIC_DOMAIN_NOTCFG>;
		};

		vdd_cam_sec_digital_reg {
			virt-domain = <PMIC_VDD_CAM_SEC_DIGITAL>;
			pmu-domain = <PMIC_DOMAIN_NOTCFG>;
		};

		vdd_cam_sec_io_reg {
			virt-domain = <PMIC_VDD_CAM_SEC_IO>;
			pmu-domain = <PMIC_DOMAIN_PMIC_LDO9>;
		};

		vdd_cam_sec_af_reg {
			virt-domain = <PMIC_VDD_CAM_SEC_AF>;
			pmu-domain = <PMIC_DOMAIN_NOTCFG>;
		};

		vdd_prim_disp_backlight_reg {
			virt-domain = <PMIC_VDD_PRIM_DISP_BACKLIGHT>;
			pmu-domain = <PMIC_DOMAIN_NOTCFG>;
		};

		vdd_sd_card_reg {
			virt-domain = <PMIC_VDD_SD_CARD>;
			pmu-domain = <PMIC_DOMAIN_PMIC_LDO8>;
		};

		vdd_emmc_reg {
			virt-domain = <PMIC_VDD_EMMC>;
			pmu-domain = <PMIC_DOMAIN_PMIC_BUCK4>;
		};

		vdd_vcpu_reg {
			virt-domain = <PMIC_VDD_VCPU>;
			pmu-domain = <PMIC_DOMAIN_PMIC_BUCK1>;
		};

		vdd_lvds_1v8_reg {
			virt-domain = <PMIC_VDD_LVDS_1V8>;
			pmu-domain = <PMIC_DOMAIN_NOTCFG>;
		};

		vdd_h_5v_reg {
			virt-domain = <PMIC_VDD_H_5V>;
			pmu-domain = <PMIC_DOMAIN_PMIC_BOOST>;
		};

		vdd_gpu_reg {
			virt-domain = <PMIC_VDD_GPU>;
			pmu-domain = <PMIC_DOMAIN_PMIC_BUCK2>;
		};

		vdd_lcd_dsi_reg {
			virt-domain = <PMIC_VDD_LCD_DSI>;
			pmu-domain = <PMIC_DOMAIN_NOTCFG>;
		};

		vdd_gps_2v5_reg {
			virt-domain = <PMIC_VDD_GPS_2V5>;
			pmu-domain = <PMIC_DOMAIN_NOTCFG>;
		};

		vdd_dif_lcd_rgb_reg {
			virt-domain = <PMIC_VDD_DIF_LCD_RGB>;
			pmu-domain = <PMIC_DOMAIN_NOTCFG>;
		};

		vdd_otg_5v_reg {
			virt-domain = <PMIC_VDD_OTG_5V>;
			pmu-domain = <PMIC_DOMAIN_PMIC_OTG_5V>;
		};

		vdd_deprecated_reg {
			virt-domain = <PMIC_VDD_DEPRECATED>;
			pmu-domain = <PMIC_DOMAIN_NOTCFG>;
		};
	};
};

&usb {
	dr_mode = "host";
};

&phy {
	intel,usb-vbus-gpio = <&xgold_pmx_gpio 15 0>;
	intel,usb-vbus-reset-time-ms = <20>; /* sleep 20 ms */
	intel,otg-host-chgdet;
	intel,otg-suspend;
	dr_mode = "host";
	intel,trim-value = < 0x007383da 0x007383da >;
};

&prh_vmm {
	prh_prim_camera {
		io_volt = <PMIC_VDD_CAM_PRIM_IO  PMIC_VOLTAGE_3V20>;
		analog = <PMIC_VDD_CAM_PRIM_ANALOG  PMIC_VOLTAGE_1V80>;
		digital = <PMIC_VDD_CAM_PRIM_DIGITAL  PMIC_VOLTAGE_1V20>;
		mipi_csi = <PMIC_VDD_MIPI_CSI  PMIC_VOLTAGE_1V17>;
	};

	prh_sec_camera {
		io_volt = <PMIC_VDD_CAM_SEC_IO  PMIC_VOLTAGE_3V20>;
		analog = <PMIC_VDD_CAM_SEC_ANALOG  PMIC_VOLTAGE_1V80>;
		digital = <PMIC_VDD_CAM_SEC_DIGITAL  PMIC_VOLTAGE_1V20>;
		mipi_csi = <PMIC_VDD_MIPI_CSI  PMIC_VOLTAGE_1V17>;
	};
};

&lemmc {
	regulator-always-on;
};

#ifndef PTEST_KERNEL
&gnss {
	pinctrl-names = "default", "sleep", "inactive", "default_lna",
	"inactive_lna", "default_fta", "inactive_fta", "gnss_default",
	"gnss_inactive";
	pinctrl-0 = <&tcxo_agold_default_pins>;
	pinctrl-1 = <&tcxo_agold_sleep_pins>;
	pinctrl-2 = <&tcxo_agold_inactive_pins>;
	pinctrl-3 = <&ext_agold_default_pins>;
	pinctrl-4 = <&ext_agold_sleep_pins>;
	pinctrl-5 = <&gnss_agold_default_pins>;
	pinctrl-6 = <&gnss_agold_sleep_pins>;
	pinctrl-7 = <&gnss_default_pins>;
	pinctrl-8 = <&gnss_inactive_pins>;
};
#endif

#ifndef RECOVERY_KERNEL
&afe {
	pinctrl-names = "default", "sleep", "inactive";
	pinctrl-0 = <&dm_agold_default_pins>;
	pinctrl-1 = <&dm_agold_sleep_pins>;
	pinctrl-2 = <&dm_agold_inactive_pins>;
	intel,spk-gpio-sd=<&abb_pmx_gpio 18 0>;
};
#endif

#ifndef RECOVERY_KERNEL
&fmr {
	status = "disabled";
};
#endif

&abb {
	intel,virq,28 = <1>; /* FMRX_EV_ONESHOT */
	intel,virq,29 = <1>; /* FMRX_EV_TUNE */
};

#ifndef PTEST_KERNEL
&lsdio {
	status = "okay";
};

&sdio{
	status = "okay";

	interrupts = < 0 1 >;
	interrupt-parent = <&sdio>;
	#interrupt-cells = < 1 >;
	interrupt-map = <
		0 &pic SDIO_INT IRQ_TYPE_DEFAULT
		1 &eint EINT_EXI0 XGOLD_IRQ_TYPE_EDGE_BOTH
		>;
	interrupt-names = "host", "eint";

	intel,tap_values = <0x080400F5 0x08040004 0x00040004 0x08040004
		0x5CF501A5 0x00F500A5 0x00F500A5>;

	pinctrl-names = "default", "sleep", "inactive";
	pinctrl-0 = <&sdio_default_pins>;
	pinctrl-1 = <&sdio_sleep_pins>;
	pinctrl-2 = <&sdio_inactive_pins>;

	intel,detect_pin = <67>;
	intel,detect_pin_is_active_low;
};

&sd {
	intel,tap_values = <0x080400F5 0x08040004 0x00040004 0x08040004
		0x5CF501A5 0x00F500A5 0x00F500A5>;
	pinctrl-names = "default", "sleep", "inactive";
	pinctrl-0 = <&sdmmc_default_pins>;
	pinctrl-1 = <&sdmmc_sleep_pins>;
	pinctrl-2 = <&sdmmc_inactive_pins>;
};
#endif

&emmc {
	intel,tap_values = <0x080400F5 0x08040004 0x00040004 0x08040004
		0x08040004 0x000400B5 0x000400B5>;
	pinctrl-names = "default", "sleep", "inactive";
	pinctrl-0 = <&emmc_default_pins>;
	pinctrl-1 = <&emmc_sleep_pins>;
	pinctrl-2 = <&emmc_inactive_pins>;
	status = "okay";
};

&nand {
	pinctrl-names = "default", "sleep", "inactive";
	pinctrl-0 = <&nand_function_B_active_pins>;
	pinctrl-1 = <&nand_function_B_sleep_pins>;
	pinctrl-2 = <&nand_function_B_inactive_pins>;
	status = "disabled";
};

&keypad {
	status = "disabled";
	pinctrl-names = "default", "sleep", "inactive";
	pinctrl-0 = <&kp_default_pins>;
	pinctrl-1 = <&kp_sleep_pins>;
	pinctrl-2 = <&kp_inactive_pins>;
	keypad,num-rows = <4>;
	keypad,num-columns = <8>;
	keypad,rows = <3>;
	keypad,columns = <3 4>;
	linux,keymap = <0x03030072	/* KEY_VOLUMEDOWN */
			0x03040073>;	/* KEY_VOLUMEUP */
	//keypad,kp_in1 = <116>;	/*KEY_POWER*/
	keypad,kp_in4 = <114>;  /*KEY_VOLUMEDOWN*/
};

&on_button {
	status = "disabled";
};

&lvds {
	status = "okay";
	pinctrl-names = "default", "sleep", "inactive";
	pinctrl-0 = <&lvds_default_pins>;
	pinctrl-1 = <&lvds_sleep_pins>;
	pinctrl-2 = <&lvds_inactive_pins>;
};

&mipi_dsi {
	status = "disabled";
};

&vop {
	status = "okay";
	rockchip,fb-win-map = <FB_DEFAULT_ORDER>;
	rockchip,iommu-enabled = <1>;
	uhigh_perf_freq = <96000000>;

	rockchip,bcsh-en = <0>;	/* set value as 1 if you want to enable bcsh */
	rockchip,brightness = <128>;
	rockchip,contrast = <256>;
	rockchip,sat-con = <512>;
	rockchip,hue = <0x8000>; /* sin_hue:bit0~bit7; cos_hue:bit8~bit15 */
};

#ifndef RECOVERY_KERNEL
&cif {
	intel,camera-modules-attached = <&camera0 &camera1 &camera2 &camera3
	&camera4 &camera5 &camera6 &camera7 &camera8 &camera9 &camera10 &camera11
	&camera12 &camera13 &camera14 &camera15 &camera16>;
};
#endif
#ifndef RECOVERY_KERNEL
&vpu {
	status = "okay";
};
#endif
#ifndef RECOVERY_KERNEL
&hevc {
	status = "okay";
};
#endif
#include "xgold/agold620/pinctrl-ag620-sf_3gr-svb.dtsi"
#include "xgold/sofia_3gr_soc/pinctrl-sf_3gr-car-rk.dtsi"
